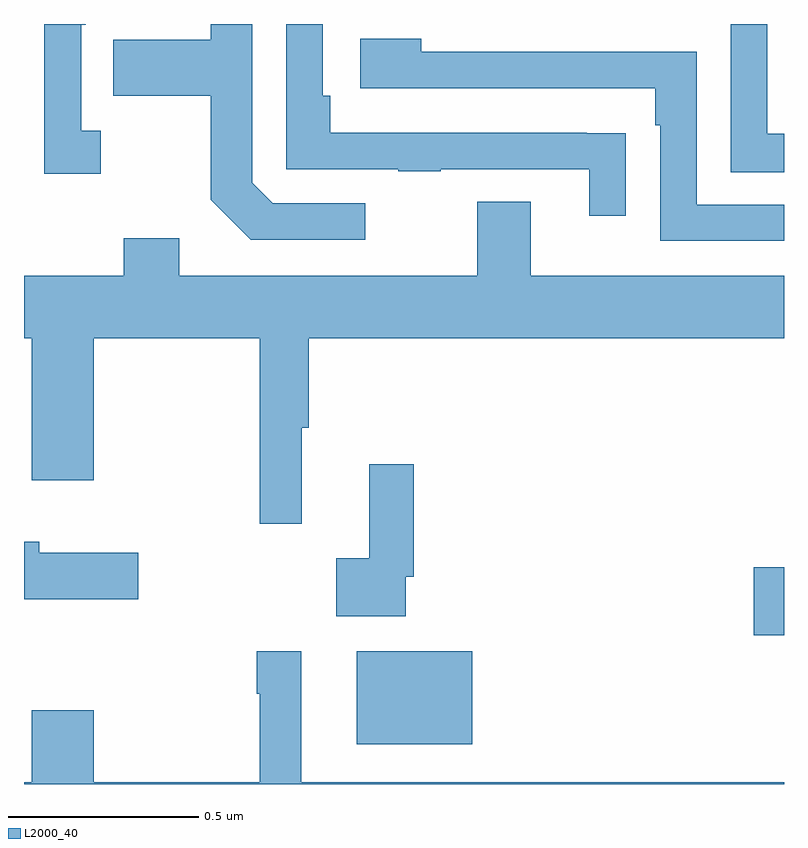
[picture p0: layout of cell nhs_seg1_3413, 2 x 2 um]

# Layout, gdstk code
import gdstk
lib = gdstk.Library(unit=1e-6, precision=1e-09)
def R(c, l, rs):  # rectangles x0, y0, x1, y1
    for r in rs: c.add(gdstk.rectangle(r[:2], r[2:], *l))
def P(c, l, *ps):  # polygons
    for p in ps: c.add(gdstk.Polygon(p, *l))
L2000_40 = (2000, 40)

nhs_seg1_3413 = lib.new_cell('nhs_seg1_3413')
R(nhs_seg1_3413, L2000_40, [(153.875,577.304,154.18,577.549), (154.92,577.591,155,577.769)])
P(nhs_seg1_3413, L2000_40, [(153.898,578.727),(153.654,578.727),(153.6,578.781),(153.6,579.199),(153.492,579.199),(153.492,579.157),(153.235,579.157),(153.235,579.01),(153.492,579.01),(153.492,578.737),(153.597,578.631),(153.898,578.631)],
  [(155,578.91),(154.956,578.91),(154.956,579.199),(154.86,579.199),(154.86,578.809),(155,578.809)],
  [(154.583,578.912),(154.481,578.912),(154.481,578.913),(153.806,578.913),(153.806,579.01),(153.786,579.01),(153.786,579.199),(153.69,579.199),(153.69,578.817),(153.985,578.817),(153.985,578.812),(154.097,578.812),(154.097,578.817),(154.487,578.817),(154.487,578.694),(154.583,578.694)],
  [(153.202,578.918),(153.15,578.918),(153.15,579.197),(153.163,579.197),(153.163,579.199),(153.053,579.199),(153.053,578.805),(153.202,578.805)],
  [(155,578.724),(154.77,578.724),(154.77,579.126),(154.046,579.126),(154.046,579.16),(153.885,579.16),(153.885,579.03),(154.661,579.03),(154.661,578.933),(154.674,578.933),(154.674,578.628),(155,578.628)],
  [(153.731,578.136),(153.749,578.136),(153.749,578.372),(155,578.372),(155,578.536),(154.333,578.536),(154.333,578.731),(154.193,578.731),(154.193,578.536),(153.409,578.536),(153.409,578.635),(153.262,578.635),(153.262,578.536),(153,578.536),(153,578.372),(153.02,578.372),(153.02,577.998),(153.184,577.998),(153.184,578.372),(153.621,578.372),(153.621,577.884),(153.731,577.884)],
  [(154.005,577.744),(154.025,577.744),(154.025,578.041),(153.908,578.041),(153.908,577.793),(153.822,577.793),(153.822,577.64),(154.005,577.64)],
  [(153.301,577.807),(153.04,577.807),(153.04,577.836),(153,577.836),(153,577.685),(153.301,577.685)],
  [(155,577.204),(153.73,577.204),(153.73,577.549),(153.613,577.549),(153.613,577.436),(153.621,577.436),(153.621,577.204),(153.184,577.204),(153.184,577.393),(153.02,577.393),(153.02,577.204),(153,577.204),(153,577.199),(155,577.199)])

lib.write_gds('nhs_seg1_3413.gds')
